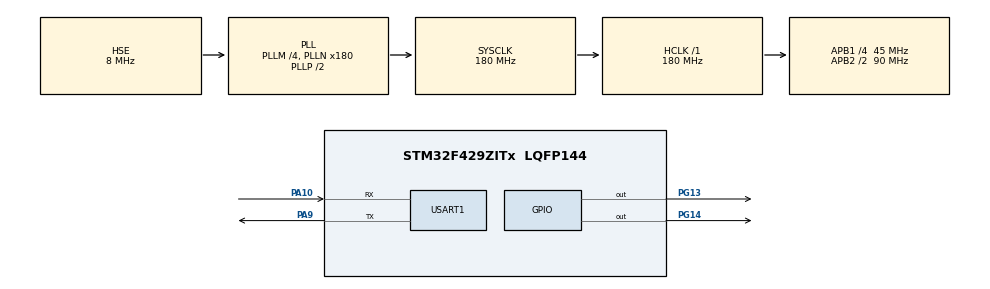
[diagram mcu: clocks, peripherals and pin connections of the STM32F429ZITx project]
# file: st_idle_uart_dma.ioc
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Dma.Request0=USART1_RX
Dma.USART1_RX.0.Direction=DMA_PERIPH_TO_MEMORY
Dma.USART1_RX.0.FIFOMode=DMA_FIFOMODE_DISABLE
Dma.USART1_RX.0.Instance=DMA2_Stream2
Dma.USART1_RX.0.MemDataAlignment=DMA_MDATAALIGN_BYTE
Dma.USART1_RX.0.MemInc=DMA_MINC_ENABLE
Dma.USART1_RX.0.Mode=DMA_NORMAL
Dma.USART1_RX.0.PeriphDataAlignment=DMA_PDATAALIGN_BYTE
Dma.USART1_RX.0.PeriphInc=DMA_PINC_DISABLE
Dma.USART1_RX.0.Priority=DMA_PRIORITY_LOW
FREERTOS.Tasks01=defaultTask,0,128,StartDefaultTask,Default,NULL
Mcu.Family=STM32F4
Mcu.Name=STM32F429ZITx
Mcu.Package=LQFP144
NVIC.DMA2_Stream2_IRQn=true\:5\:0\:false\:false\:true\:true\:false\:true
NVIC.PriorityGroup=NVIC_PRIORITYGROUP_4
NVIC.TIM1_UP_TIM10_IRQn=true\:0\:0\:false\:false\:true\:false\:false\:true
NVIC.TimeBase=TIM1_UP_TIM10_IRQn
NVIC.TimeBaseIP=TIM1
NVIC.USART1_IRQn=true\:5\:0\:false\:false\:true\:true\:true\:true
PA10.Mode=Asynchronous
PA10.Signal=USART1_RX
PA13.Mode=Trace_Asynchronous_SW
PA13.Signal=SYS_JTMS-SWDIO
PA14.Mode=Trace_Asynchronous_SW
PA14.Signal=SYS_JTCK-SWCLK
PA9.Mode=Asynchronous
PA9.Signal=USART1_TX
PB3.Mode=Trace_Asynchronous_SW
PB3.Signal=SYS_JTDO-SWO
PG13.Signal=GPIO_Output
PG14.Signal=GPIO_Output
PH0/OSC_IN.Mode=HSE-External-Oscillator
PH0/OSC_IN.Signal=RCC_OSC_IN
PH1/OSC_OUT.Mode=HSE-External-Oscillator
PH1/OSC_OUT.Signal=RCC_OSC_OUT
ProjectManager.HeapSize=0x200
ProjectManager.StackSize=0x400
ProjectManager.TargetToolchain=MDK-ARM V5
RCC.48MHZClocksFreq_Value=90000000
RCC.AHBFreq_Value=180000000
RCC.APB1CLKDivider=RCC_HCLK_DIV4
RCC.APB1Freq_Value=45000000
RCC.APB1TimFreq_Value=90000000
RCC.APB2CLKDivider=RCC_HCLK_DIV2
RCC.APB2Freq_Value=90000000
RCC.APB2TimFreq_Value=180000000
RCC.CortexFreq_Value=180000000
RCC.HCLKFreq_Value=180000000
RCC.HSE_VALUE=8000000
RCC.HSI_VALUE=16000000
RCC.LSE_VALUE=32768
RCC.PLLM=4
RCC.PLLN=180
RCC.PLLSourceVirtual=RCC_PLLSOURCE_HSE
RCC.SYSCLKFreq_VALUE=180000000
RCC.SYSCLKSource=RCC_SYSCLKSOURCE_PLLCLK
RCC.VCOOutputFreq_Value=360000000
USART1.VirtualMode=VM_ASYNC
VP_FREERTOS_VS_CMSIS_V1.Mode=CMSIS_V1
VP_SYS_VS_tim1.Mode=TIM1
board=custom

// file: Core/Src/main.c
/* USER CODE BEGIN Header */
/**
  ******************************************************************************
  * @file           : main.c
  * @brief          : Main program body
  ******************************************************************************
  * @attention
  *
  * <h2><center>&copy; Copyright (c) 2020 STMicroelectronics.
  * All rights reserved.</center></h2>
  *
  * This software component is licensed by ST under Ultimate Liberty license
  * SLA0044, the "License"; You may not use this file except in compliance with
  * the License. You may obtain a copy of the License at:
  *                             www.st.com/SLA0044
  *
  ******************************************************************************
  */
/* USER CODE END Header */

#include "main.h"
#include "cmsis_os.h"

#include "stdio.h"
#include "string.h"

UART_HandleTypeDef huart1;
DMA_HandleTypeDef hdma_usart1_rx;

osThreadId defaultTaskHandle;

void SystemClock_Config(void);
static void MX_GPIO_Init(void);
static void MX_DMA_Init(void);
static void MX_USART1_UART_Init(void);
void StartDefaultTask(void const * argument);

/* USER CODE BEGIN 0 */

uint8_t DMA_RX_Buffer[RX_LEN];
uint8_t Buffer[RX_LEN];

tsPhy phy;

/* USER CODE END 0 */

int main(void)
{

  /* MCU Configuration--------------------------------------------------------*/

  /* Reset of all peripherals, Initializes the Flash interface and the Systick. */
  HAL_Init();

  /* Configure the system clock */
  SystemClock_Config();

  /* Initialize all configured peripherals */
  MX_GPIO_Init();
  MX_DMA_Init();
  MX_USART1_UART_Init();

  /* Create the thread(s) */
  /* definition and creation of defaultTask */
  osThreadDef(defaultTask, StartDefaultTask, osPriorityNormal, 0, 128);
  defaultTaskHandle = osThreadCreate(osThread(defaultTask), NULL);

  /* Start scheduler */
  osKernelStart();

  /* We should never get here as control is now taken by the scheduler */

  /* Infinite loop */
  while (1)
  {

  }
}

void SystemClock_Config(void)
{
  RCC_OscInitTypeDef RCC_OscInitStruct = {0};
  RCC_ClkInitTypeDef RCC_ClkInitStruct = {0};

  /** Configure the main internal regulator output voltage
  */
  __HAL_RCC_PWR_CLK_ENABLE();
  __HAL_PWR_VOLTAGESCALING_CONFIG(PWR_REGULATOR_VOLTAGE_SCALE1);
  /** Initializes the CPU, AHB and APB busses clocks
  */
  RCC_OscInitStruct.OscillatorType = RCC_OSCILLATORTYPE_HSE;
  RCC_OscInitStruct.HSEState = RCC_HSE_ON;
  RCC_OscInitStruct.PLL.PLLState = RCC_PLL_ON;
  RCC_OscInitStruct.PLL.PLLSource = RCC_PLLSOURCE_HSE;
  RCC_OscInitStruct.PLL.PLLM = 4;
  RCC_OscInitStruct.PLL.PLLN = 180;
  RCC_OscInitStruct.PLL.PLLP = RCC_PLLP_DIV2;
  RCC_OscInitStruct.PLL.PLLQ = 4;
  if (HAL_RCC_OscConfig(&RCC_OscInitStruct) != HAL_OK)
  {
    Error_Handler();
  }
  /** Activate the Over-Drive mode
  */
  if (HAL_PWREx_EnableOverDrive() != HAL_OK)
  {
    Error_Handler();
  }
  /** Initializes the CPU, AHB and APB busses clocks
  */
  RCC_ClkInitStruct.ClockType = RCC_CLOCKTYPE_HCLK|RCC_CLOCKTYPE_SYSCLK
                              |RCC_CLOCKTYPE_PCLK1|RCC_CLOCKTYPE_PCLK2;
  RCC_ClkInitStruct.SYSCLKSource = RCC_SYSCLKSOURCE_PLLCLK;
  RCC_ClkInitStruct.AHBCLKDivider = RCC_SYSCLK_DIV1;
  RCC_ClkInitStruct.APB1CLKDivider = RCC_HCLK_DIV4;
  RCC_ClkInitStruct.APB2CLKDivider = RCC_HCLK_DIV2;

  if (HAL_RCC_ClockConfig(&RCC_ClkInitStruct, FLASH_LATENCY_5) != HAL_OK)
  {
    Error_Handler();
  }
}

static void MX_USART1_UART_Init(void)
{

  huart1.Instance = USART1;
  huart1.Init.BaudRate = 115200;
  huart1.Init.WordLength = UART_WORDLENGTH_8B;
  huart1.Init.StopBits = UART_STOPBITS_1;
  huart1.Init.Parity = UART_PARITY_NONE;
  huart1.Init.Mode = UART_MODE_TX_RX;
  huart1.Init.HwFlowCtl = UART_HWCONTROL_NONE;
  huart1.Init.OverSampling = UART_OVERSAMPLING_16;
  if (HAL_UART_Init(&huart1) != HAL_OK)
  {
    Error_Handler();
  }

}

static void MX_DMA_Init(void)
{
  /* DMA controller clock enable */
  __HAL_RCC_DMA2_CLK_ENABLE();

  /* DMA interrupt init */
  /* DMA2_Stream2_IRQn interrupt configuration */
  HAL_NVIC_SetPriority(DMA2_Stream2_IRQn, 5, 0);
  HAL_NVIC_EnableIRQ(DMA2_Stream2_IRQn);

}

static void MX_GPIO_Init(void)
{
  GPIO_InitTypeDef GPIO_InitStruct = {0};

  /* GPIO Ports Clock Enable */
  __HAL_RCC_GPIOH_CLK_ENABLE();
  __HAL_RCC_GPIOA_CLK_ENABLE();
  __HAL_RCC_GPIOG_CLK_ENABLE();
  __HAL_RCC_GPIOB_CLK_ENABLE();

  /*Configure GPIO pin Output Level */
  HAL_GPIO_WritePin(GPIOG, GPIO_PIN_13|GPIO_PIN_14, GPIO_PIN_RESET);

  /*Configure GPIO pins : PG13 PG14 */
  GPIO_InitStruct.Pin = GPIO_PIN_13|GPIO_PIN_14;
  GPIO_InitStruct.Mode = GPIO_MODE_OUTPUT_PP;
  GPIO_InitStruct.Pull = GPIO_NOPULL;
  GPIO_InitStruct.Speed = GPIO_SPEED_FREQ_LOW;
  HAL_GPIO_Init(GPIOG, &GPIO_InitStruct);

}

/* USER CODE BEGIN 4 */
void USART_IrqHandler (UART_HandleTypeDef *huart, DMA_HandleTypeDef *hdma)
{
	if (huart->Instance->SR & UART_FLAG_IDLE)           /* if Idle flag is set */
	{
		volatile uint32_t tmp;                  /* Must be volatile to prevent optimizations */
		tmp = huart->Instance->SR;                       /* Read status register */
		tmp = huart->Instance->DR;                       /* Read data register */
		hdma->Instance->CR &= ~DMA_SxCR_EN;       /* Disabling DMA will force transfer complete interrupt if enabled */
	}
}

void DMA_IrqHandler (DMA_HandleTypeDef *hdma)
{
	size_t len;
	static signed portBASE_TYPE xHigherPriorityTaskWoken;

  xHigherPriorityTaskWoken = pdFALSE;
	typedef struct
	{
		__IO uint32_t ISR;   /*!< DMA interrupt status register */
		__IO uint32_t Reserved0;
		__IO uint32_t IFCR;  /*!< DMA interrupt flag clear register */
	} DMA_Base_Registers;

	DMA_Base_Registers *regs = (DMA_Base_Registers *)hdma->StreamBaseAddress;

	if(__HAL_DMA_GET_IT_SOURCE(hdma, DMA_IT_TC) != RESET)   // if the source is TC
	{
		/* Clear the transfer complete flag */
		regs->IFCR = DMA_FLAG_TCIF1_5 << hdma->StreamIndex;

		/* Get the length of the data */
		len = RX_LEN - hdma->Instance->NDTR;

		phy.dataLen = len;
		memcpy(phy.data,DMA_RX_Buffer,len);

		xSemaphoreGiveFromISR( phy.xSemaphore, (signed portBASE_TYPE*)&xHigherPriorityTaskWoken );
		portEND_SWITCHING_ISR( xHigherPriorityTaskWoken );

		/* Prepare DMA for next transfer */
    /* Important! DMA stream won't start if all flags are not cleared first */
		regs->IFCR = 0x3FU << hdma->StreamIndex; // clear all interrupts
		hdma->Instance->M0AR = (uint32_t)DMA_RX_Buffer;   /* Set memory address for DMA again */
		hdma->Instance->NDTR = RX_LEN;    /* Set number of bytes to receive */
		hdma->Instance->CR |= DMA_SxCR_EN;            /* Start DMA transfer */
	}
}

void init_idleDedection()
{
	__HAL_UART_ENABLE_IT(&huart1,UART_IT_IDLE);   // enable idle line interrupt
  __HAL_DMA_ENABLE_IT (&hdma_usart1_rx, DMA_IT_TC);  // enable DMA Tx cplt interrupt

	HAL_UART_Receive_DMA (&huart1, DMA_RX_Buffer, RX_LEN);

	hdma_usart1_rx.Instance->CR &= ~DMA_SxCR_HTIE;  // disable uart half tx interrupt
}

/* USER CODE END 4 */

void StartDefaultTask(void const * argument)
{
  /* USER CODE BEGIN 5 */

	phy.pfn = DMA_IrqHandler;
  vSemaphoreCreateBinary( phy.xSemaphore  );

	init_idleDedection();

	xSemaphoreTake( phy.xSemaphore , 0);

  /* Infinite loop */
  for(;;)
  {
		xSemaphoreTake( phy.xSemaphore, portMAX_DELAY );

		sprintf(Buffer,"%d\r\n",phy.dataLen);
		HAL_UART_Transmit(&huart1,Buffer,strlen(Buffer),10);
		HAL_GPIO_TogglePin(GPIOG, GPIO_PIN_13|GPIO_PIN_14);

  }
  /* USER CODE END 5 */
}

void HAL_TIM_PeriodElapsedCallback(TIM_HandleTypeDef *htim)
{
  if (htim->Instance == TIM1) {
    HAL_IncTick();
  }
}

void Error_Handler(void)
{
}

/************************ (C) COPYRIGHT STMicroelectronics *****END OF FILE****/
